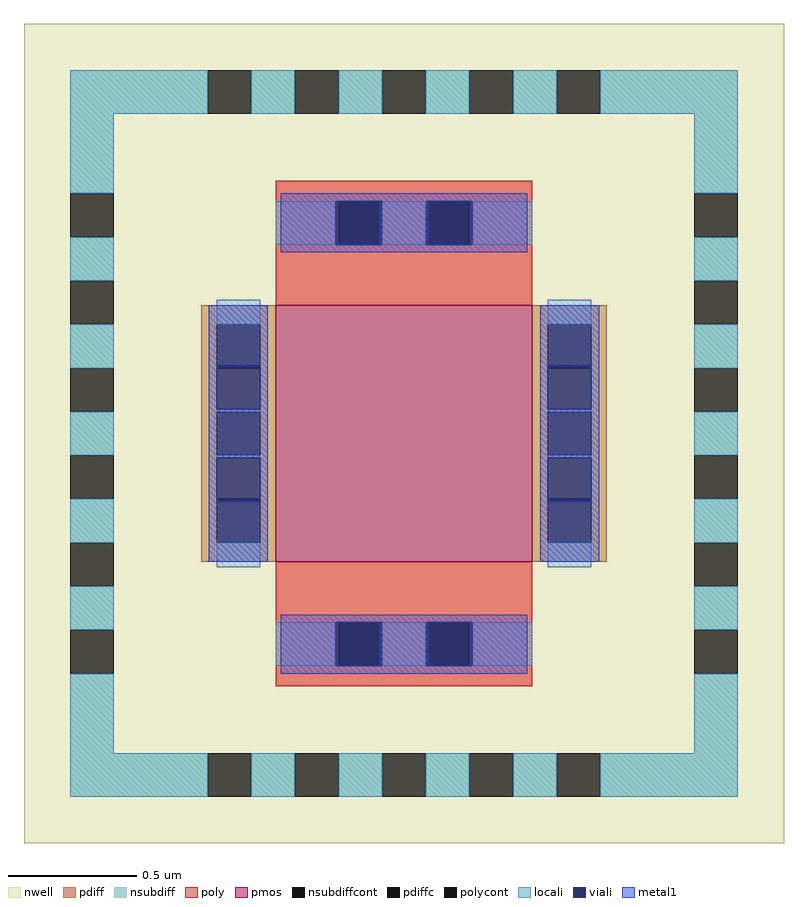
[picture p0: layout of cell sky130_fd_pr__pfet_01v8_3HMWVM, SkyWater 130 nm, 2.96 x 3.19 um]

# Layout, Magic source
magic
tech sky130A
magscale 1 2
<< nwell >>
rect -296 -319 296 319
<< pmos >>
rect -100 -100 100 100
<< pdiff >>
rect -158 85 -100 100
rect -158 51 -146 85
rect -112 51 -100 85
rect -158 17 -100 51
rect -158 -17 -146 17
rect -112 -17 -100 17
rect -158 -51 -100 -17
rect -158 -85 -146 -51
rect -112 -85 -100 -51
rect -158 -100 -100 -85
rect 100 85 158 100
rect 100 51 112 85
rect 146 51 158 85
rect 100 17 158 51
rect 100 -17 112 17
rect 146 -17 158 17
rect 100 -51 158 -17
rect 100 -85 112 -51
rect 146 -85 158 -51
rect 100 -100 158 -85
<< pdiffc >>
rect -146 51 -112 85
rect -146 -17 -112 17
rect -146 -85 -112 -51
rect 112 51 146 85
rect 112 -17 146 17
rect 112 -85 146 -51
<< nsubdiff >>
rect -260 249 -153 283
rect -119 249 -85 283
rect -51 249 -17 283
rect 17 249 51 283
rect 85 249 119 283
rect 153 249 260 283
rect -260 187 -226 249
rect -260 119 -226 153
rect 226 187 260 249
rect 226 119 260 153
rect -260 51 -226 85
rect -260 -17 -226 17
rect -260 -85 -226 -51
rect 226 51 260 85
rect 226 -17 260 17
rect 226 -85 260 -51
rect -260 -153 -226 -119
rect -260 -249 -226 -187
rect 226 -153 260 -119
rect 226 -249 260 -187
rect -260 -283 -153 -249
rect -119 -283 -85 -249
rect -51 -283 -17 -249
rect 17 -283 51 -249
rect 85 -283 119 -249
rect 153 -283 260 -249
<< nsubdiffcont >>
rect -153 249 -119 283
rect -85 249 -51 283
rect -17 249 17 283
rect 51 249 85 283
rect 119 249 153 283
rect -260 153 -226 187
rect -260 85 -226 119
rect 226 153 260 187
rect -260 17 -226 51
rect -260 -51 -226 -17
rect -260 -119 -226 -85
rect 226 85 260 119
rect 226 17 260 51
rect 226 -51 260 -17
rect -260 -187 -226 -153
rect 226 -119 260 -85
rect 226 -187 260 -153
rect -153 -283 -119 -249
rect -85 -283 -51 -249
rect -17 -283 17 -249
rect 51 -283 85 -249
rect 119 -283 153 -249
<< poly >>
rect -100 181 100 197
rect -100 147 -51 181
rect -17 147 17 181
rect 51 147 100 181
rect -100 100 100 147
rect -100 -147 100 -100
rect -100 -181 -51 -147
rect -17 -181 17 -147
rect 51 -181 100 -147
rect -100 -197 100 -181
<< polycont >>
rect -51 147 -17 181
rect 17 147 51 181
rect -51 -181 -17 -147
rect 17 -181 51 -147
<< locali >>
rect -260 249 -153 283
rect -119 249 -85 283
rect -51 249 -17 283
rect 17 249 51 283
rect 85 249 119 283
rect 153 249 260 283
rect -260 187 -226 249
rect 226 187 260 249
rect -260 119 -226 153
rect -100 147 -53 181
rect -17 147 17 181
rect 53 147 100 181
rect 226 119 260 153
rect -260 51 -226 85
rect -260 -17 -226 17
rect -260 -85 -226 -51
rect -146 85 -112 104
rect -146 17 -112 19
rect -146 -19 -112 -17
rect -146 -104 -112 -85
rect 112 85 146 104
rect 112 17 146 19
rect 112 -19 146 -17
rect 112 -104 146 -85
rect 226 51 260 85
rect 226 -17 260 17
rect 226 -85 260 -51
rect -260 -153 -226 -119
rect -100 -181 -53 -147
rect -17 -181 17 -147
rect 53 -181 100 -147
rect 226 -153 260 -119
rect -260 -249 -226 -187
rect 226 -249 260 -187
rect -260 -283 -153 -249
rect -119 -283 -85 -249
rect -51 -283 -17 -249
rect 17 -283 51 -249
rect 85 -283 119 -249
rect 153 -283 260 -249
<< viali >>
rect -53 147 -51 181
rect -51 147 -19 181
rect 19 147 51 181
rect 51 147 53 181
rect -146 51 -112 53
rect -146 19 -112 51
rect -146 -51 -112 -19
rect -146 -53 -112 -51
rect 112 51 146 53
rect 112 19 146 51
rect 112 -51 146 -19
rect 112 -53 146 -51
rect -53 -181 -51 -147
rect -51 -181 -19 -147
rect 19 -181 51 -147
rect 51 -181 53 -147
<< metal1 >>
rect -96 181 96 187
rect -96 147 -53 181
rect -19 147 19 181
rect 53 147 96 181
rect -96 141 96 147
rect -152 53 -106 100
rect -152 19 -146 53
rect -112 19 -106 53
rect -152 -19 -106 19
rect -152 -53 -146 -19
rect -112 -53 -106 -19
rect -152 -100 -106 -53
rect 106 53 152 100
rect 106 19 112 53
rect 146 19 152 53
rect 106 -19 152 19
rect 106 -53 112 -19
rect 146 -53 152 -19
rect 106 -100 152 -53
rect -96 -147 96 -141
rect -96 -181 -53 -147
rect -19 -181 19 -147
rect 53 -181 96 -147
rect -96 -187 96 -181
<< properties >>
string FIXED_BBOX -243 -266 243 266
<< end >>
